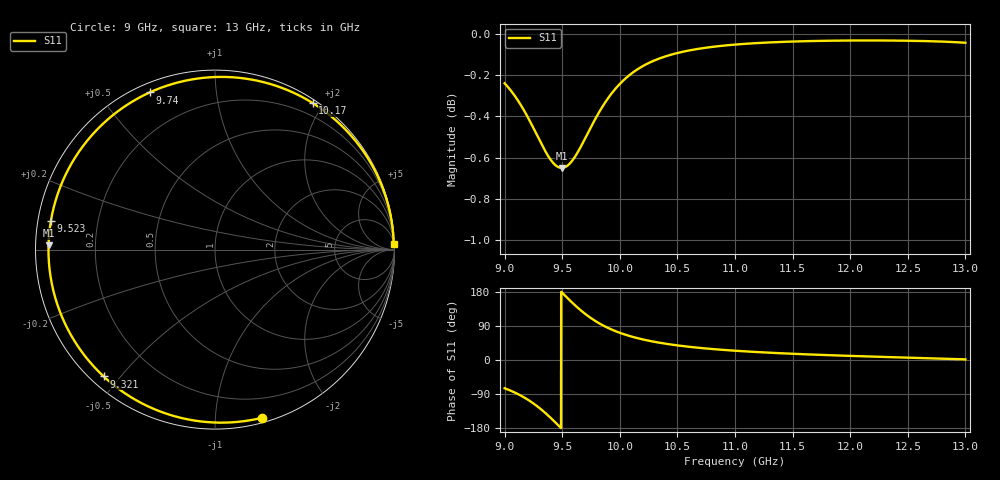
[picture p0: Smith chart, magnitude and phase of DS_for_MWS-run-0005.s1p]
! TOUCHSTONE file generated by CST DESIGN STUDIO
! Date and time: Tue Feb  4 12:45:46 2025
! Project name: C:\Work\MatlabApps\UnitCellOptimizationMatlab\CST\unitcell.cst
! Tree item: Tasks\Sweep1\SPara1\S-Parameters
! Header version: 2024
! Port assignment regex: !\s*Touchstone port\s*([0-9]+)\s*=\s*(CST MWS port|CST DES external port|CST DES block port)\s*(.+)\s* \(\"(.*)\"\)(\s*mode\s*([0-9]+))?.*
! Touchstone port assignment:
! Touchstone port 1 = CST DES external port 1 ("")
# GHz S MA R 50
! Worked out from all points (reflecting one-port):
!   4001 points, 9 GHz to 13 GHz, reference 50 ohm
!   lowest |S11| = -0.7 dB at 9.496 GHz (marker M1), VSWR 26.73, Z = 1.87 + j0.666 ohm
!   phase of S11 starts at -75 deg and turns -284 deg over the sweep
!   S11 on the Smith chart (normalised r, x): 9 GHz: 0.04, -1.31; 9.321 GHz: 0.04, -0.45; 9.523 GHz: 0.04, +0.09; 9.74 GHz: 0.04, +0.67; 10.17 GHz: 0.04, +1.87; 13 GHz: 11, +67
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9  0.9729 -74.5
9.084  0.9664 -85.2
9.185  0.9564 -101.6
9.256  0.9481 -115.9
9.321  0.9402 -131.3
9.367  0.9352 -143.5
9.416  0.9309 -157.4
9.457  0.9286 -169.6
9.496  0.9279 178.5
9.5  0.9279 177.2
9.523  0.9282 170.2
9.575  0.9308 154.7
9.635  0.9361 137.9
9.687  0.9419 124.6
9.74  0.9482 112.5
9.793  0.9543 101.9
9.851  0.9604 91.8
9.924  0.967 81.0
10  0.9725 71.8
10.171  0.9812 56.3
10.321  0.9859 46.8
10.5  0.9895 38.5
10.722  0.9922 31.1
11  0.9942 24.5
11.5  0.9959 16.4
12  0.9965 10.8
12.5  0.9963 6.2
13  0.9952 1.7
